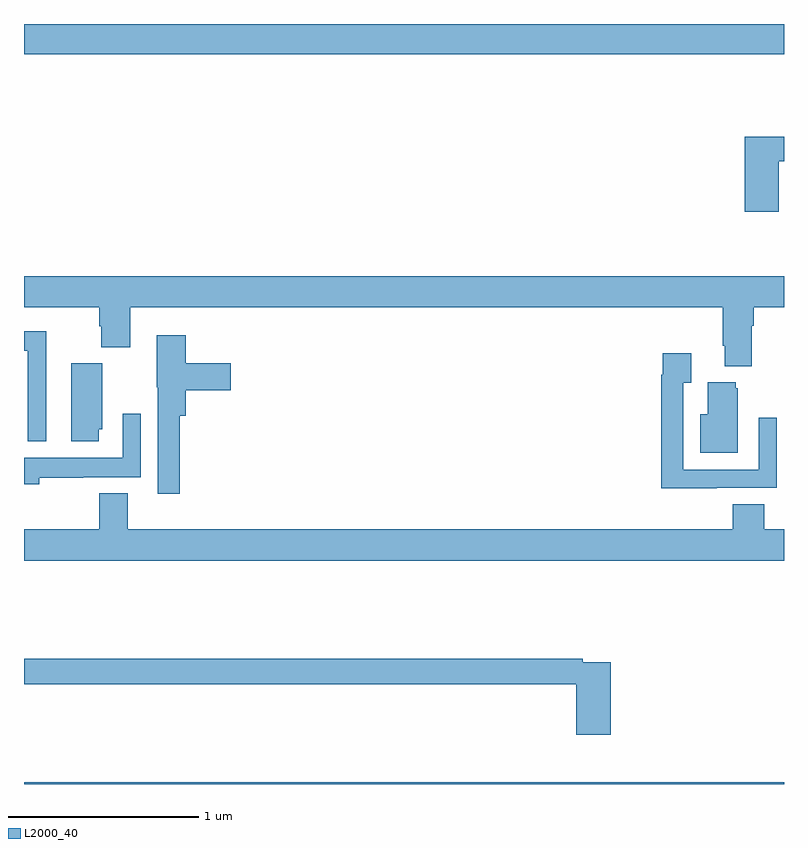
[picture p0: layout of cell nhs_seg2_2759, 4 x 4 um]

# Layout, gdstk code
import gdstk
lib = gdstk.Library(unit=1e-6, precision=1e-09)
def R(c, l, rs):  # rectangles x0, y0, x1, y1
    for r in rs: c.add(gdstk.rectangle(r[:2], r[2:], *l))
def P(c, l, *ps):  # polygons
    for p in ps: c.add(gdstk.Polygon(p, *l))
L2000_40 = (2000, 40)

nhs_seg2_2759 = lib.new_cell('nhs_seg2_2759')
R(nhs_seg2_2759, L2000_40, [(255,639.8,259,639.808), (255,643.64,259,643.8)])
P(nhs_seg2_2759, L2000_40, [(258.972,643.078),(259,643.078),(259,643.207),(258.794,643.207),(258.794,642.813),(258.972,642.813)],
  [(258.829,642.212),(258.842,642.212),(258.842,642.308),(259,642.308),(259,642.472),(255,642.472),(255,642.308),(255.395,642.308),(255.395,642.209),(255.407,642.209),(255.407,642.1),(255.56,642.1),(255.56,642.308),(258.677,642.308),(258.677,642.106),(258.689,642.106),(258.689,641.999),(258.829,641.999)],
  [(255.118,642.184),(255,642.184),(255,642.08),(255.021,642.08),(255.021,641.603),(255.118,641.603)],
  [(255.821,641.738),(255.851,641.738),(255.851,641.873),(256.087,641.873),(256.087,642.015),(255.851,642.015),(255.851,642.163),(255.698,642.163),(255.698,641.889),(255.705,641.889),(255.705,641.328),(255.821,641.328)],
  [(258.647,641.358),(258.963,641.358),(258.963,641.728),(258.867,641.728),(258.867,641.454),(258.471,641.454),(258.471,641.911),(258.511,641.911),(258.511,642.067),(258.363,642.067),(258.363,641.954),(258.355,641.954),(258.355,641.357),(258.647,641.357)],
  [(255.394,641.667),(255.412,641.667),(255.412,642.015),(255.248,642.015),(255.248,641.604),(255.394,641.604)],
  [(258.757,641.883),(258.746,641.883),(258.746,641.914),(258.599,641.914),(258.599,641.746),(258.56,641.746),(258.56,641.543),(258.757,641.543)],
  [(255.08,641.412),(255.311,641.412),(255.311,641.414),(255.615,641.414),(255.615,641.749),(255.519,641.749),(255.519,641.518),(255,641.518),(255,641.378),(255.08,641.378)],
  [(259,641.14),(258.896,641.14),(258.896,641.273),(258.731,641.273),(258.731,641.14),(255.547,641.14),(255.547,641.329),(255.395,641.329),(255.395,641.14),(255,641.14),(255,640.976),(259,640.976)],
  [(258.089,640.44),(257.942,640.44),(257.942,640.46),(255,640.46),(255,640.324),(257.906,640.324),(257.906,640.059),(258.089,640.059)])

lib.write_gds('nhs_seg2_2759.gds')
